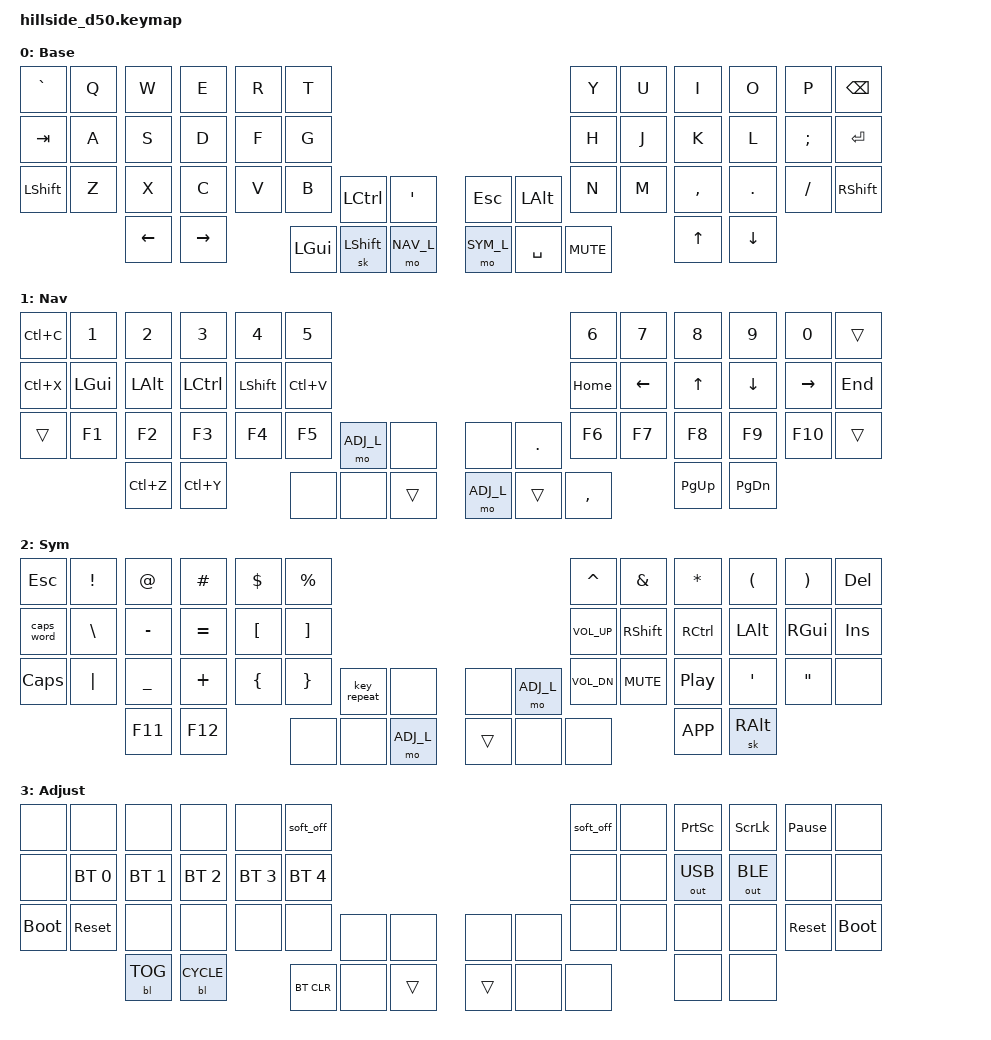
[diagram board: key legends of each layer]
// User default keymap.

#include <behaviors.dtsi>
#include <dt-bindings/zmk/bt.h>
#include <dt-bindings/zmk/ext_power.h>
#include <dt-bindings/zmk/keys.h>
#include <dt-bindings/zmk/outputs.h>

// Can only use one of backlight or RGB
#include <dt-bindings/zmk/backlight.h>
//#include <dt-bindings/zmk/rgb.h>

#define BASE_L   0
#define NAV_L    1
#define SYM_L    2
#define ADJ_L    3

#define Undo   LC(Z)
#define Cut    LC(X)
#define Copy   LC(C)
#define Paste  LC(V)
#define Redo   LC(Y)

/ {
    keymap {
        compatible = "zmk,keymap";

// // Build test layer, if using the bare LED. Need to also ensure normal layers don't use smart LED key codes.
// // col 0          1           2              3             4               5
//         test_layer { bindings = <
// &kp  GRAVE      &kp  N1         &kp  N2         &kp  N3       &kp  N4            &kp  N5                                                                      &kp  N6       &kp  N7     &kp  N8       &kp  N9     &kp  A        &kp  B
// &bl  BL_TOG     &bl  BL_CYCLE   &kp  W          &kp  E        &kp  R             &kp  T                                                                       &kp  H        &kp  J      &kp  K        &kp  L      &kp  SEMI     &kp  ENTER
// &out OUT_USB    &out OUT_BLE    &kp  S          &kp  D        &ext_power EP_OFF  &ext_power EP_ON  &kp  LCTRL   &kp  LGUI         &kp  N1       &kp  LALT     &kp  N        &kp  M      &kp  COMMA    &kp  DOT    &kp  SLASH    &kp  RSHFT
//                                 &kp  X          &kp  C                           &kp  B            &kp  LALT    &kp  SPACE        &kp  N1       &kp  SPACE    &kp  C_MUTE               &kp  UP       &kp  DOWN
//                          >; };

// // Build test layer, if using the smart RGB LEDs. Need to also ensure normal layers don't use bare LED key codes.
// // col 0          1           2              3             4               5
//         test_layer { bindings = <
// &kp  N0         &kp  N1         &kp  N2           &kp  N3       &kp  N4            &kp  N5                                                                     &kp  N6       &kp  N7    &kp  N8      &kp  N9      &kp  A        &kp  B
// &rgb_ug RGB_ON  &rgb_ug RGB_BRI &rgb_ug RGB_EFF   &kp  N3       &rgb_ug RGB_BRD    &rgb_ug RGB_OFF                                                             &kp  H        &kp  J     &kp  K       &kp  L       &kp  SEMI     &kp  ENTER
// &out OUT_USB    &out OUT_BLE    &kp   N1          &kp  N1       &ext_power EP_OFF  &ext_power EP_ON  &kp  N1      &kp  N1            &kp  N1     &kp  LALT     &kp  N        &kp  M     &kp  COMMA   &kp  DOT     &kp  SLASH    &kp  RSHFT
//                                 &none             &none                            &kp  N1           &kp  N1      &kp  N1            &kp  N1     &kp  SPACE    &kp  C_MUTE              &kp  UP      &kp  DOWN
//                         >; };

        default_layer {
            display-name = "Base";
            bindings = <
&kp  GRAVE    &kp  Q        &kp  W        &kp  E        &kp  R        &kp  T                                                                      &kp  Y        &kp  U        &kp  I        &kp  O        &kp  P        &kp  BSPC
&kp  TAB      &kp  A        &kp  S        &kp  D        &kp  F        &kp  G                                                                      &kp  H        &kp  J        &kp  K        &kp  L        &kp  SEMI     &kp  ENTER
&kp  LSHFT    &kp  Z        &kp  X        &kp  C        &kp  V        &kp  B        &kp  LCTRL    &kp  SQT            &kp  ESC      &kp  LALT     &kp  N        &kp  M        &kp  COMMA    &kp  DOT      &kp  SLASH    &kp  RSHFT
                            &kp  LEFT     &kp  RIGHT                  &kp  LGUI     &sk  LSHIFT   &mo  NAV_L          &mo  SYM_L    &kp  SPACE    &kp  C_MUTE                 &kp  UP       &kp  DOWN
                        >;
                };
        nav_layer {
            display-name = "Nav";
            bindings = <
&kp  Copy     &kp  N1       &kp  N2       &kp  N3       &kp  N4       &kp  N5                                                                     &kp   N6      &kp  N7       &kp   N8      &kp   N9      &kp  N0       &trans
&kp  Cut      &kp  LGUI     &kp  LALT     &kp  LCTRL    &kp  LSHFT    &kp  Paste                                                                  &kp   HOME    &kp  LEFT     &kp   UP      &kp   DOWN    &kp  RIGHT    &kp  END
&trans        &kp  F1       &kp  F2       &kp  F3       &kp  F4       &kp  F5       &mo  ADJ_L    &none               &none         &kp  DOT      &kp   F6      &kp  F7       &kp   F8      &kp   F9      &kp  F10      &trans
                            &kp  Undo     &kp  Redo                   &none         &none         &trans              &mo ADJ_L     &trans        &kp   COMMA                 &kp   PG_UP   &kp   PG_DN 
                        >;
                };

        sym_layer {
            display-name = "Sym";
            bindings = <
&kp  ESC      &kp  EXCL     &kp  AT       &kp  HASH     &kp  DOLLAR   &kp  PERCENT                                                                &kp  CARET    &kp  AMPS     &kp  ASTRK    &kp  LPAR     &kp  RPAR     &kp  DEL
&caps_word    &kp  BSLH     &kp  MINUS    &kp  EQUAL    &kp  LBKT     &kp  RBKT                                                                   &kp C_VOL_UP  &kp  RSHFT    &kp  RCTRL    &kp  LALT     &kp  RGUI     &kp  INS
&kp CAPSLOCK  &kp  PIPE     &kp  UNDER    &kp  PLUS     &kp  LBRC     &kp  RBRC     &key_repeat   &none               &none         &mo  ADJ_L    &kp C_VOL_DN  &kp  C_MUTE   &kp  C_PP     &kp  SQT      &kp  DQT      &none
                            &kp  F11      &kp  F12                    &none         &none         &mo  ADJ_L          &trans        &none         &none                       &kp  K_APP    &sk  RALT
                        >;
                };

        adj_layer {
            display-name = "Adjust";
            bindings = <
&none         &none         &none         &none         &none         &soft_off                                                                   &soft_off     &none         &kp  PSCRN    &kp  SLCK     &kp PAUSE_BREAK &none
&none         &bt  BT_SEL 0 &bt  BT_SEL 1 &bt  BT_SEL 2 &bt  BT_SEL 3 &bt  BT_SEL 4                                                               &none         &none         &out OUT_USB  &out OUT_BLE  &none         &none
&bootloader   &sys_reset    &none         &none         &none         &none         &none         &none               &none         &none         &none         &none         &none         &none         &sys_reset    &bootloader
                            &bl  BL_TOG   &bl  BL_CYCLE               &bt  BT_CLR   &none         &trans              &trans        &none         &none                       &none         &none
                        >;
                };

        extra1_layer {
            status = "reserved";
        };

        extra2_layer {
            status = "reserved";
        };



    };
};

